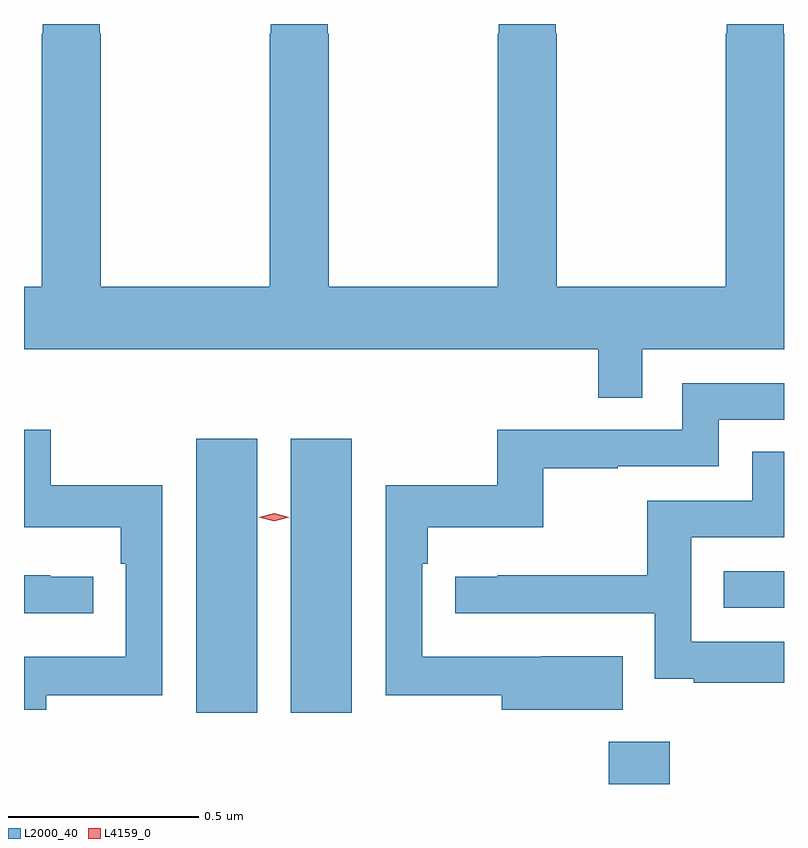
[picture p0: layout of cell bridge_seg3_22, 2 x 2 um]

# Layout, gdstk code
import gdstk
lib = gdstk.Library(unit=1e-6, precision=1e-09)
def R(c, l, rs):  # rectangles x0, y0, x1, y1
    for r in rs: c.add(gdstk.rectangle(r[:2], r[2:], *l))
def P(c, l, *ps):  # polygons
    for p in ps: c.add(gdstk.Polygon(p, *l))
L2000_40 = (2000, 40)
L4159_0 = (4159, 0)

bridge_seg3_22 = lib.new_cell('bridge_seg3_22')
R(bridge_seg3_22, L2000_40, [(840.407,737.068,840.567,737.179), (839.321,737.256,839.482,737.977), (839.57,737.256,839.731,737.977), (840.709,737.532,840.868,737.628)])
P(bridge_seg3_22, L2000_40, [(840.495,738.212),(840.868,738.212),(840.868,739.043),(840.867,739.043),(840.867,739.068),(840.717,739.068),(840.717,739.043),(840.715,739.043),(840.715,738.376),(840.27,738.376),(840.27,739.043),(840.267,739.043),(840.267,739.068),(840.117,739.068),(840.117,739.043),(840.115,739.043),(840.115,738.376),(839.67,738.376),(839.67,739.043),(839.667,739.043),(839.667,739.068),(839.517,739.068),(839.517,739.043),(839.515,739.043),(839.515,738.376),(839.07,738.376),(839.07,739.043),(839.067,739.043),(839.067,739.068),(838.917,739.068),(838.917,739.043),(838.915,739.043),(838.915,738.376),(838.868,738.376),(838.868,738.212),(840.379,738.212),(840.379,738.085),(840.495,738.085)],
  [(840.443,737.404),(840.229,737.404),(840.229,737.403),(839.916,737.403),(839.916,737.648),(839.93,737.648),(839.93,737.744),(840.235,737.744),(840.235,737.899),(840.431,737.899),(840.431,737.904),(840.696,737.904),(840.696,738.027),(840.868,738.027),(840.868,738.123),(840.6,738.123),(840.6,738),(840.114,738),(840.114,737.854),(839.82,737.854),(839.82,737.302),(840.125,737.302),(840.125,737.264),(840.443,737.264)],
  [(838.927,737.302),(839.232,737.302),(839.232,737.854),(838.939,737.854),(838.939,738),(838.868,738),(838.868,737.744),(839.123,737.744),(839.123,737.648),(839.136,737.648),(839.136,737.403),(838.868,737.403),(838.868,737.264),(838.927,737.264)],
  [(840.868,737.442),(840.624,737.442),(840.624,737.718),(840.868,737.718),(840.868,737.942),(840.785,737.942),(840.785,737.814),(840.508,737.814),(840.508,737.618),(840.115,737.618),(840.115,737.613),(840.003,737.613),(840.003,737.517),(840.528,737.517),(840.528,737.345),(840.631,737.345),(840.631,737.334),(840.868,737.334)],
  [(839.05,737.613),(838.937,737.613),(838.937,737.618),(838.868,737.618),(838.868,737.517),(839.05,737.517)])
P(bridge_seg3_22, L4159_0, [(839.526,737.76),(839.486,737.77),(839.486,737.77),(839.486,737.77),(839.526,737.78),(839.566,737.77),(839.566,737.77),(839.566,737.77)])

lib.write_gds('bridge_seg3_22.gds')
